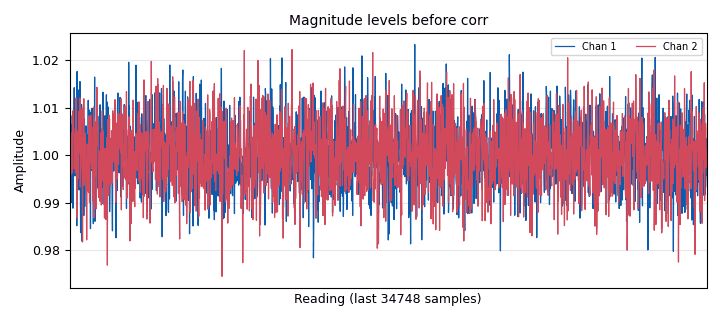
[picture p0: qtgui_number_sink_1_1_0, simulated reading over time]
options:
  parameters:
    generate_options: qt_gui
    id: run_mag_equalization_on_music_acc_single_source_eval
    output_language: python
    title: Magnitude equalization effects on accuracy of MUSIC algorithm 2 RX, 1 SRC
  states: {}

blocks:
- name: MAV_length
  id: variable
  parameters:
    value: int(1e6)
  states: {}
- name: imag
  id: variable_qtgui_range
  parameters:
    orient: Qt.Horizontal
    start: '-2'
    step: '0.05'
    stop: '2'
    value: '1'
  states: {}
- name: noise_ampl
  id: variable
  parameters:
    value: '0.01'
  states: {}
- name: real
  id: variable_qtgui_range
  parameters:
    orient: Qt.Horizontal
    start: '0'
    step: '0.05'
    stop: '2'
    value: '1'
  states: {}
- name: sample_rate
  id: variable
  parameters:
    value: 1e6
  states: {}
- name: analog_const_source_x_1
  id: analog_const_source_x
  parameters:
    const: '0'
    type: float
  states: {}
- name: analog_noise_source_x_0
  id: analog_noise_source_x
  parameters:
    amp: noise_ampl
    noise_type: analog.GR_GAUSSIAN
    seed: '18247'
    type: complex
  states: {}
- name: analog_noise_source_x_0_0
  id: analog_noise_source_x
  parameters:
    amp: noise_ampl
    noise_type: analog.GR_GAUSSIAN
    seed: '912472913'
    type: complex
  states: {}
- name: analog_sig_source_x_0
  id: analog_sig_source_x
  parameters:
    amp: '1'
    freq: '10E+3'
    offset: '0'
    phase: '0'
    samp_rate: sample_rate
    type: complex
    waveform: analog.GR_COS_WAVE
  states: {}
- name: aoa_MUSIC_lin_array_0
  id: aoa_MUSIC_lin_array
  parameters:
    norm_spacing: '0.5'
    num_inputs: '2'
    num_targets: '1'
    pspectrum_len: '1024'
  states: {}
- name: aoa_MUSIC_lin_array_0_0
  id: aoa_MUSIC_lin_array
  parameters:
    norm_spacing: '0.5'
    num_inputs: '2'
    num_targets: '1'
    pspectrum_len: '1024'
  states: {}
- name: aoa_autocorrelate_0
  id: aoa_autocorrelate
  parameters:
    avg_method: '0'
    num_inputs: '2'
    overlap_size: '512'
    snapshot_size: '1024'
  states: {}
- name: aoa_autocorrelate_0_0
  id: aoa_autocorrelate
  parameters:
    avg_method: '0'
    num_inputs: '2'
    overlap_size: '512'
    snapshot_size: '1024'
  states: {}
- name: aoa_precise_moving_average_0
  id: aoa_precise_moving_average
  parameters:
    length: MAV_length
    max_iter: MAV_length
  states: {}
- name: aoa_precise_moving_average_0_0
  id: aoa_precise_moving_average
  parameters:
    length: MAV_length
    max_iter: MAV_length
  states: {}
- name: aoa_rootMUSIC_linear_array_0
  id: aoa_rootMUSIC_linear_array
  parameters:
    norm_spacing: '0.5'
    num_inputs: '2'
    num_targets: '1'
  states: {}
- name: aoa_rootMUSIC_linear_array_0_0
  id: aoa_rootMUSIC_linear_array
  parameters:
    norm_spacing: '0.5'
    num_inputs: '2'
    num_targets: '1'
  states: {}
- name: blocks_add_xx_0
  id: blocks_add_xx
  parameters:
    type: complex
  states: {}
- name: blocks_add_xx_0_0
  id: blocks_add_xx
  parameters:
    type: complex
  states: {}
- name: blocks_complex_to_mag_0_0_0
  id: blocks_complex_to_mag
  parameters: {}
  states: {}
- name: blocks_complex_to_mag_0_1
  id: blocks_complex_to_mag
  parameters: {}
  states: {}
- name: blocks_complex_to_mag_1
  id: blocks_complex_to_mag
  parameters: {}
  states: {}
- name: blocks_complex_to_mag_1_0
  id: blocks_complex_to_mag
  parameters: {}
  states: {}
- name: blocks_complex_to_magphase_0
  id: blocks_complex_to_magphase
  parameters: {}
  states: {}
- name: blocks_divide_xx_0
  id: blocks_divide_xx
  parameters:
    type: float
  states: {}
- name: blocks_divide_xx_0_0
  id: blocks_divide_xx
  parameters:
    type: float
  states: {}
- name: blocks_float_to_complex_0
  id: blocks_float_to_complex
  parameters: {}
  states: {}
- name: blocks_float_to_complex_0_0
  id: blocks_float_to_complex
  parameters: {}
  states: {}
- name: blocks_magphase_to_complex_0
  id: blocks_magphase_to_complex
  parameters: {}
  states: {}
- name: blocks_max_xx_0
  id: blocks_max_xx
  parameters:
    num_inputs: '2'
    type: float
  states: {}
- name: blocks_multiply_const_vxx_0
  id: blocks_multiply_const_vxx
  parameters:
    const: real
    type: float
  states: {}
- name: blocks_multiply_xx_0
  id: blocks_multiply_xx
  parameters:
    type: complex
  states: {}
- name: blocks_multiply_xx_0_0
  id: blocks_multiply_xx
  parameters:
    type: complex
  states: {}
- name: blocks_throttle_0_0
  id: blocks_throttle
  parameters:
    samples_per_second: sample_rate
    type: complex
  states: {}
- name: phase
  id: blocks_add_const_vxx
  parameters:
    const: imag
    type: float
  states: {}
- name: qtgui_histogram_sink_x_0
  id: qtgui_histogram_sink_x
  parameters:
    autoscale: 'False'
    bins: '1024'
    grid: 'True'
    label1: '"Before mag correction"'
    label2: '"After mag correction"'
    name: '"AoA distribution"'
    nconnections: '2'
    size: 1024*8
    type: float
    update_time: '1'
    xmax: '71.0'
    xmin: '70.0'
  states: {}
- name: qtgui_number_sink_0
  id: qtgui_number_sink
  parameters:
    graph_type: qtgui.NUM_GRAPH_HORIZ
    max: '180'
    min: '0'
    type: float
  states: {}
- name: qtgui_number_sink_0_0
  id: qtgui_number_sink
  parameters:
    graph_type: qtgui.NUM_GRAPH_HORIZ
    max: '180'
    min: '0'
    type: float
  states: {}
- name: qtgui_number_sink_1_1
  id: qtgui_number_sink
  parameters:
    color1: ("black", "white")
    graph_type: qtgui.NUM_GRAPH_HORIZ
    label1: Chan 1
    label2: Chan 2
    max: '4'
    min: '0'
    name: '"Magnitude levels after corr"'
    nconnections: '2'
    type: float
  states: {}
- name: qtgui_number_sink_1_1_0
  id: qtgui_number_sink
  parameters:
    color1: ("black", "white")
    graph_type: qtgui.NUM_GRAPH_HORIZ
    label1: Chan 1
    label2: Chan 2
    max: '4'
    min: '0'
    name: '"Magnitude levels before corr"'
    nconnections: '2'
    type: float
  states: {}
- name: qtgui_vector_sink_f_0
  id: qtgui_vector_sink_f
  parameters:
    name: '"Pspectrum plot"'
    nconnections: '2'
    vlen: '1024'
    x_start: '0'
    x_step: '1.0'
  states: {}

connections:
- [analog_const_source_x_1, '0', blocks_float_to_complex_0, '1']
- [analog_const_source_x_1, '0', blocks_float_to_complex_0_0, '1']
- [analog_noise_source_x_0, '0', blocks_add_xx_0, '0']
- [analog_noise_source_x_0_0, '0', blocks_add_xx_0_0, '1']
- [analog_sig_source_x_0, '0', blocks_throttle_0_0, '0']
- [aoa_MUSIC_lin_array_0, '0', qtgui_vector_sink_f_0, '0']
- [aoa_MUSIC_lin_array_0_0, '0', qtgui_vector_sink_f_0, '1']
- [aoa_autocorrelate_0, '0', aoa_MUSIC_lin_array_0, '0']
- [aoa_autocorrelate_0, '0', aoa_rootMUSIC_linear_array_0, '0']
- [aoa_autocorrelate_0_0, '0', aoa_MUSIC_lin_array_0_0, '0']
- [aoa_autocorrelate_0_0, '0', aoa_rootMUSIC_linear_array_0_0, '0']
- [aoa_precise_moving_average_0, '0', blocks_max_xx_0, '0']
- [aoa_precise_moving_average_0_0, '0', blocks_max_xx_0, '1']
- [aoa_rootMUSIC_linear_array_0, '0', qtgui_histogram_sink_x_0, '0']
- [aoa_rootMUSIC_linear_array_0, '0', qtgui_number_sink_0, '0']
- [aoa_rootMUSIC_linear_array_0_0, '0', qtgui_histogram_sink_x_0, '1']
- [aoa_rootMUSIC_linear_array_0_0, '0', qtgui_number_sink_0_0, '0']
- [blocks_add_xx_0, '0', aoa_autocorrelate_0, '0']
- [blocks_add_xx_0, '0', blocks_complex_to_mag_1_0, '0']
- [blocks_add_xx_0, '0', blocks_multiply_xx_0, '0']
- [blocks_add_xx_0_0, '0', aoa_autocorrelate_0, '1']
- [blocks_add_xx_0_0, '0', blocks_complex_to_mag_1, '0']
- [blocks_add_xx_0_0, '0', blocks_multiply_xx_0_0, '0']
- [blocks_complex_to_mag_0_0_0, '0', qtgui_number_sink_1_1, '1']
- [blocks_complex_to_mag_0_1, '0', qtgui_number_sink_1_1, '0']
- [blocks_complex_to_mag_1, '0', aoa_precise_moving_average_0_0, '0']
- [blocks_complex_to_mag_1, '0', blocks_divide_xx_0_0, '1']
- [blocks_complex_to_mag_1, '0', qtgui_number_sink_1_1_0, '1']
- [blocks_complex_to_mag_1_0, '0', aoa_precise_moving_average_0, '0']
- [blocks_complex_to_mag_1_0, '0', blocks_divide_xx_0, '1']
- [blocks_complex_to_mag_1_0, '0', qtgui_number_sink_1_1_0, '0']
- [blocks_complex_to_magphase_0, '0', blocks_multiply_const_vxx_0, '0']
- [blocks_complex_to_magphase_0, '1', phase, '0']
- [blocks_divide_xx_0, '0', blocks_float_to_complex_0, '0']
- [blocks_divide_xx_0_0, '0', blocks_float_to_complex_0_0, '0']
- [blocks_float_to_complex_0, '0', blocks_multiply_xx_0, '1']
- [blocks_float_to_complex_0_0, '0', blocks_multiply_xx_0_0, '1']
- [blocks_magphase_to_complex_0, '0', blocks_add_xx_0_0, '0']
- [blocks_max_xx_0, '0', blocks_divide_xx_0, '0']
- [blocks_max_xx_0, '0', blocks_divide_xx_0_0, '0']
- [blocks_multiply_const_vxx_0, '0', blocks_magphase_to_complex_0, '0']
- [blocks_multiply_xx_0, '0', aoa_autocorrelate_0_0, '0']
- [blocks_multiply_xx_0, '0', blocks_complex_to_mag_0_1, '0']
- [blocks_multiply_xx_0_0, '0', aoa_autocorrelate_0_0, '1']
- [blocks_multiply_xx_0_0, '0', blocks_complex_to_mag_0_0_0, '0']
- [blocks_throttle_0_0, '0', blocks_add_xx_0, '1']
- [blocks_throttle_0_0, '0', blocks_complex_to_magphase_0, '0']
- [phase, '0', blocks_magphase_to_complex_0, '1']

metadata:
  file_format: 1
